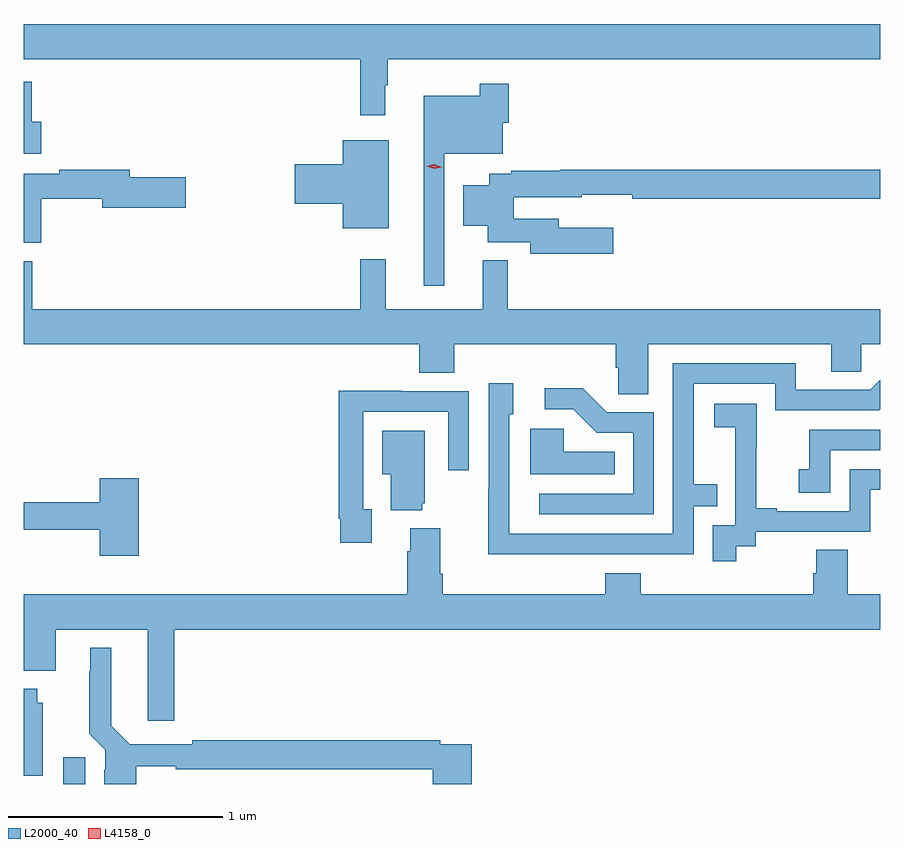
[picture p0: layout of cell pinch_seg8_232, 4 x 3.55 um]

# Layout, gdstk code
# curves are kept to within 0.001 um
import gdstk
lib = gdstk.Library(unit=1e-6, precision=1e-09)
def R(c, l, rs):  # rectangles x0, y0, x1, y1
    for r in rs: c.add(gdstk.rectangle(r[:2], r[2:], *l))
def P(c, l, *ps):  # polygons
    for p in ps: c.add(gdstk.Polygon(p, *l))
L2000_40 = (2000, 40)
L4158_0 = (4158, 0)

pinch_seg8_232 = lib.new_cell('pinch_seg8_232')
R(pinch_seg8_232, L2000_40, [(696.407,1094.467,696.511,1094.593)])
P(pinch_seg8_232, L2000_40, [(697.912,1097.729),(697.924,1097.729),(697.924,1097.852),(700.223,1097.852),(700.223,1098.016),(696.223,1098.016),(696.223,1097.852),(697.795,1097.852),(697.795,1097.589),(697.912,1097.589)],
  [(696.304,1097.559),(696.26,1097.559),(696.26,1097.746),(696.223,1097.746),(696.223,1097.411),(696.304,1097.411)],
  [(698.187,1097.411),(698.461,1097.411),(698.461,1097.556),(698.488,1097.556),(698.488,1097.737),(698.352,1097.737),(698.352,1097.68),(698.09,1097.68),(698.09,1096.794),(698.187,1096.794)],
  [(697.927,1097.473),(697.712,1097.473),(697.712,1097.36),(697.488,1097.36),(697.488,1097.177),(697.712,1097.177),(697.712,1097.063),(697.927,1097.063)],
  [(698.977,1097.065),(698.722,1097.065),(698.722,1097.107),(698.512,1097.107),(698.512,1097.207),(698.829,1097.207),(698.829,1097.219),(699.064,1097.219),(699.064,1097.2),(700.223,1097.2),(700.223,1097.336),(698.729,1097.336),(698.729,1097.33),(698.5,1097.33),(698.5,1097.317),(698.396,1097.317),(698.396,1097.263),(698.276,1097.263),(698.276,1097.075),(698.39,1097.075),(698.39,1096.997),(698.588,1096.997),(698.588,1096.943),(698.977,1096.943)],
  [(696.305,1097.2),(696.59,1097.2),(696.59,1097.158),(696.979,1097.158),(696.979,1097.3),(696.718,1097.3),(696.718,1097.336),(696.388,1097.336),(696.388,1097.316),(696.223,1097.316),(696.223,1096.994),(696.305,1096.994)],
  [(699.139,1096.52),(699.995,1096.52),(699.995,1096.393),(700.134,1096.393),(700.134,1096.52),(700.223,1096.52),(700.223,1096.684),(698.483,1096.684),(698.483,1096.912),(698.366,1096.912),(698.366,1096.684),(697.913,1096.684),(697.913,1096.918),(697.795,1096.918),(697.795,1096.684),(696.263,1096.684),(696.263,1096.909),(696.223,1096.909),(696.223,1096.52),(698.069,1096.52),(698.069,1096.387),(698.234,1096.387),(698.234,1096.52),(698.987,1096.52),(698.987,1096.411),(699,1096.411),(699,1096.288),(699.139,1096.288)],
  [(698.855,1095.54),(699.351,1095.54),(699.351,1095.765),(699.461,1095.765),(699.461,1095.866),(699.351,1095.866),(699.351,1096.335),(699.732,1096.335),(699.732,1096.212),(700.218,1096.212),(700.223,1096.217),(700.223,1096.355),(700.176,1096.308),(699.829,1096.308),(699.829,1096.431),(699.255,1096.431),(699.255,1095.636),(698.491,1095.636),(698.49,1096.194),(698.509,1096.194),(698.509,1096.339),(698.394,1096.339),(698.394,1095.845),(698.392,1095.845),(698.392,1095.539)],
  [(699.165,1096.203),(698.946,1096.203),(698.833,1096.316),(698.655,1096.316),(698.655,1096.218),(698.789,1096.218),(698.9,1096.107),(699.069,1096.107),(699.069,1095.822),(698.631,1095.822),(698.631,1095.726),(699.165,1095.726)],
  [(697.849,1095.75),(697.809,1095.75),(697.809,1096.206),(698.205,1096.206),(698.205,1095.933),(698.301,1095.933),(698.301,1096.302),(697.985,1096.302),(697.985,1096.304),(697.693,1096.304),(697.693,1095.706),(697.701,1095.706),(697.701,1095.594),(697.849,1095.594)],
  [(699.55,1095.577),(699.642,1095.577),(699.642,1095.645),(700.176,1095.645),(700.176,1095.84),(700.223,1095.84),(700.223,1095.936),(700.08,1095.936),(700.08,1095.741),(699.739,1095.741),(699.739,1095.754),(699.644,1095.754),(699.644,1096.037),(699.645,1096.037),(699.645,1096.243),(699.447,1096.243),(699.447,1096.133),(699.545,1096.133),(699.545,1095.905),(699.546,1095.905),(699.546,1095.675),(699.441,1095.675),(699.441,1095.507),(699.55,1095.507)],
  [(698.984,1096.018),(698.745,1096.018),(698.745,1096.126),(698.588,1096.126),(698.588,1095.914),(698.984,1095.914)],
  [(699.99,1096.026),(700.223,1096.026),(700.223,1096.122),(699.892,1096.122),(699.892,1095.937),(699.843,1095.937),(699.843,1095.828),(699.99,1095.828)],
  [(698.084,1095.777),(698.095,1095.777),(698.095,1096.117),(697.898,1096.117),(697.898,1095.914),(697.937,1095.914),(697.937,1095.746),(698.084,1095.746)],
  [(696.761,1095.895),(696.578,1095.895),(696.578,1095.782),(696.223,1095.782),(696.223,1095.654),(696.578,1095.654),(696.578,1095.534),(696.761,1095.534)],
  [(696.926,1095.188),(700.223,1095.188),(700.223,1095.352),(700.071,1095.352),(700.071,1095.56),(699.923,1095.56),(699.923,1095.45),(699.911,1095.45),(699.911,1095.352),(699.104,1095.352),(699.104,1095.451),(698.939,1095.451),(698.939,1095.352),(698.18,1095.352),(698.18,1095.448),(698.167,1095.448),(698.167,1095.661),(698.027,1095.661),(698.027,1095.554),(698.015,1095.554),(698.015,1095.352),(696.223,1095.352),(696.223,1094.996),(696.373,1094.996),(696.373,1095.188),(696.803,1095.188),(696.803,1094.763),(696.926,1094.763)],
  [(696.749,1094.551),(696.932,1094.551),(696.932,1094.536),(698.132,1094.536),(698.132,1094.467),(698.315,1094.467),(698.315,1094.652),(698.168,1094.652),(698.168,1094.672),(697.009,1094.672),(697.009,1094.652),(696.718,1094.652),(696.631,1094.74),(696.631,1095.103),(696.533,1095.103),(696.533,1094.993),(696.529,1094.993),(696.529,1094.702),(696.603,1094.628),(696.603,1094.534),(696.599,1094.534),(696.599,1094.467),(696.749,1094.467)],
  [(696.313,1094.847),(696.286,1094.847),(696.286,1094.911),(696.223,1094.911),(696.223,1094.506),(696.313,1094.506)])
P(pinch_seg8_232, L4158_0, [(698.14,1097.34),(698.105,1097.352),(698.105,1097.352),(698.105,1097.352),(698.141,1097.36),(698.176,1097.348),(698.177,1097.348),(698.176,1097.348)])

lib.write_gds('pinch_seg8_232.gds')
